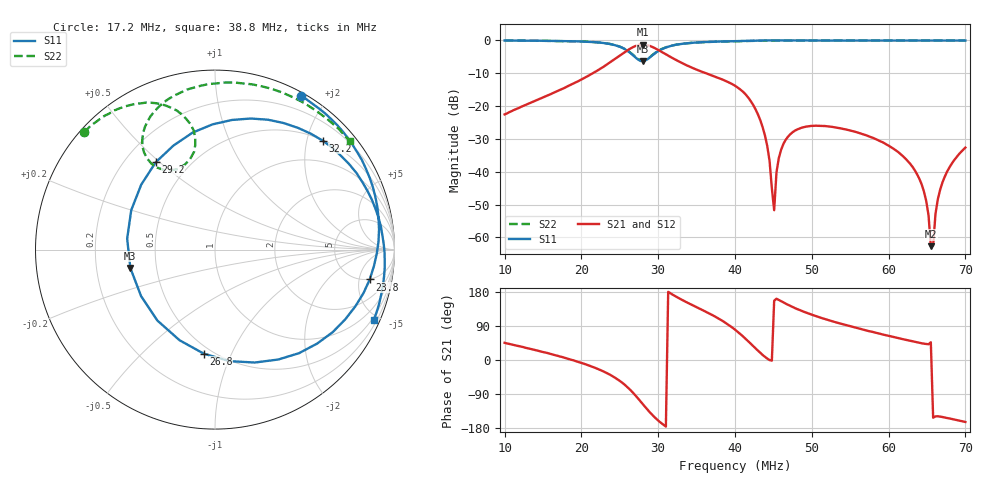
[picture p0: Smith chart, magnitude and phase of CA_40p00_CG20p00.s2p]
#  HZ  S  RI  R  50.00
! Rohde & Schwarz ZVT8 8Ports - Version 4.11 - 1300.0000k08 SN: 100242
! Date: 2026-07-31 14:48:45
! Measurements: S11 S21 S12 S22
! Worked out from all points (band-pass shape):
!   201 points, 10 MHz to 70 MHz, reference 50 ohm
!   highest |S21| = -1.28 dB at 28 MHz (marker M1); lowest = -62.6 dB at 65.5 MHz (marker M2)
!   |S21| within 3 dB of the highest: 25.2 MHz to 31.04 MHz (5.834 MHz wide, 20.7 % of centre)
!   lowest |S11| = -6.3 dB at 28 MHz (marker M3), VSWR 2.87, Z = 17.6 - j4.72 ohm
!   |S11| at or under -10 dB: nowhere
!   |S22| runs from -6.1 to 0.0 dB; largest |S21 - S12| = 0.0028
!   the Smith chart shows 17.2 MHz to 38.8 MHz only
!   S11 on the Smith chart (normalised r, x): 17.2 MHz: 0.04, +1.70; 23.8 MHz: 4.91, -7.12; 26.8 MHz: 0.45, -0.79; 29.2 MHz: 0.33, +0.49; 32.2 MHz: 0.51, +2.30; 38.8 MHz: 0.38, -4.69
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1e7  -0.4008 0.9121  0.0526 0.0531  0.0525 0.0532  -0.919 0.3849
1.72e7  0.4785 0.8565  0.1733 0.0281  0.1735 0.0284  -0.7308 0.6539
2.02e7  0.7926 0.5425  0.2581 -0.0408  0.2574 -0.0406  -0.5943 0.7554
2.38e7  0.862 -0.1663  0.3607 -0.2992  0.3609 -0.2989  -0.3303 0.8159
2.68e7  -0.0628 -0.5796  0.0265 -0.7991  0.0255 -0.7987  -0.11 0.5831
2.8e7  -0.4716 -0.1026  -0.3875 -0.7714  -0.3869 -0.7716  -0.2049 0.4494
2.92e7  -0.3301 0.4868  -0.6475 -0.4671  -0.6477 -0.465  -0.3532 0.4774
3.01e7  -0.0142 0.6976  -0.6699 -0.2223  -0.6685 -0.2225  -0.405 0.576
3.22e7  0.6002 0.6072  -0.5022 0.1005  -0.5017 0.1012  -0.3141 0.7944
3.88e7  0.8846 -0.3921  -0.0315 0.2388  -0.0317 0.2385  0.7501 0.6052
4e7  0.8161 -0.5354  0.0348 0.2011  0.0351 0.2008  0.9447 0.2201
4.15e7  0.7041 -0.6914  0.0862 0.1167  0.0854 0.1169  0.8573 -0.4734
4.36e7  0.4981 -0.8627  0.0464 0.0109  0.0464 0.0111  -0.0867 -0.9861
4.51e7  0.3302 -0.9421  -0.00239 0.00104  -0.00235 0.00103  -0.6771 -0.7252
4.54e7  0.295 -0.9531  -0.00926 0.00307  -0.0092 0.00308  -0.7517 -0.6488
4.63e7  0.1899 -0.9795  -0.0234 0.0124  -0.0233 0.0123  -0.903 -0.4124
5.02e7  -0.2588 -0.9628  -0.0236 0.0441  -0.0237 0.0441  -0.943 0.3166
6.01e7  -0.9771 -0.1906  0.011 0.022  0.011 0.022  -0.4232 0.9017
6.43e7  -0.957 0.2755  0.00463 0.0045  0.00463 0.00448  -0.2121 0.9742
6.55e7  -0.9125 0.4009  0.000505 0.000537  0.000501 0.000546  -0.1543 0.9841
6.7e7  -0.831 0.5494  -0.00594 -0.00336  -0.0059 -0.00334  -0.0826 0.9928
7e7  -0.5986 0.7965  -0.0224 -0.00662  -0.0223 -0.00657  0.0577 0.9952
